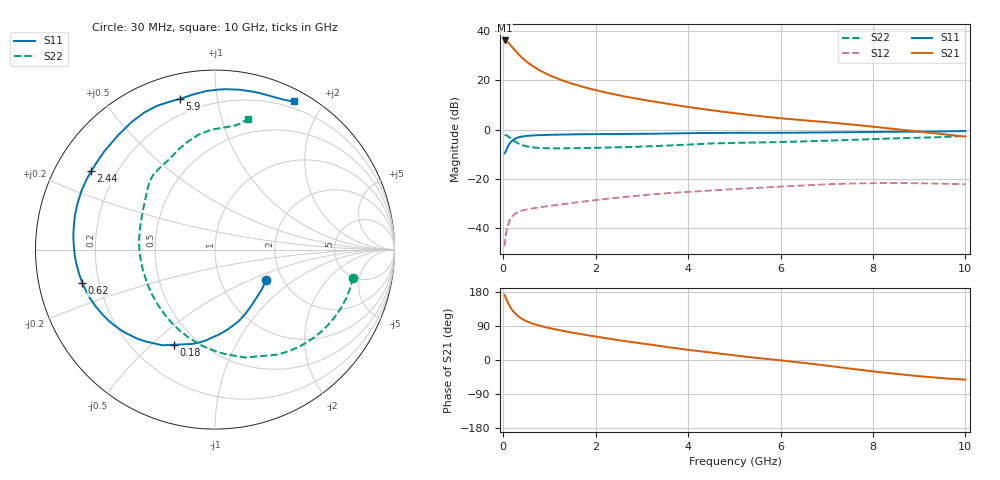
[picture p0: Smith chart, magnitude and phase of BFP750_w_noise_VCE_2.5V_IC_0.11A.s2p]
! Infineon Technologies  Discrete & RF Semiconductors
! BFP750
! VCE =  2.5 V,  IC = 0.11 A
! Common Emitter S-Parameters:  Jan 2016
# GHz  S  MA  R  50
!  f  S11  S21  S12  S22
! GHz  MAG  ANG  MAG  ANG  MAG  ANG  MAG  ANG
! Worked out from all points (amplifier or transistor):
!   229 points, 30 MHz to 10 GHz, reference 50 ohm
!   highest |S21| = 36.3 dB at 30 MHz (marker M1)
!   |S21| within 3 dB of that: start of sweep to 206.4 MHz
!   unconditionally stable (mu >= 1): 2.557 GHz to end of sweep
!   at 280 MHz: K = 0.30, MSG = 32.8 dB, |S12| = -33.9 dB
!   at 1.78 GHz: K = 0.86, MSG = 23.1 dB, |S12| = -29.1 dB
!   at 10 GHz: K = 1.07, MAG = 8.0 dB, |S12| = -22.2 dB
!   lowest NFmin = 1.68 dB at 450 MHz
!   S11 on the Smith chart (normalised r, x): 30 MHz: 1.64, -0.63; 180 MHz: 0.37, -0.59; 620 MHz: 0.14, -0.12; 2.44 GHz: 0.11, +0.29; 5.9 GHz: 0.12, +0.79; 10 GHz: 0.12, +1.66
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0.03  0.3314 -31.1  64.95 171.7  0.0043 62.2  0.784 -11.5
0.05  0.3543 -49.5  64.21 165.3  0.0065 62.0  0.7788 -20.9
0.07  0.3966 -64.8  62.6 159.4  0.0085 61.4  0.7655 -29.5
0.1  0.4553 -82.4  59.33 151.5  0.0113 57.5  0.7375 -41.7
0.145  0.5338 -102.0  53.6 141.0  0.0148 51.3  0.6846 -57.9
0.18  0.5774 -113.3  49.07 134.7  0.0166 47.0  0.6407 -68.2
0.2  0.6089 -118.9  46.71 130.7  0.0177 44.8  0.6241 -74.5
0.26  0.6593 -131.3  40.3 122.5  0.0198 39.7  0.5693 -88.9
0.3  0.6862 -138.2  36.53 117.7  0.0208 37.2  0.5413 -97.5
0.36  0.7113 -145.8  31.97 112.2  0.022 34.4  0.5076 -107.9
0.46  0.7388 -155.5  26.18 104.9  0.0234 31.4  0.4708 -121.9
0.62  0.7623 -165.9  20.12 96.9  0.025 29.3  0.4394 -137.9
0.8  0.7765 -174.2  15.81 90.0  0.0265 28.5  0.4242 -150.6
1  0.7862 178.9  12.74 84.1  0.0282 28.7  0.418 -160.6
1.7  0.8078 161.8  7.527 68.0  0.0343 29.7  0.4227 178.1
2.44  0.8169 147.7  5.136 53.4  0.0412 28.5  0.436 162.7
3.4  0.8319 131.8  3.533 36.8  0.0499 24.2  0.4692 147.0
5.1  0.8629 110.9  2.112 11.0  0.0629 14.2  0.5421 128.5
5.9  0.8625 103.0  1.741 0.3  0.0687 9.1  0.5578 119.3
6.8  0.8798 94.8  1.471 -11.8  0.0761 1.9  0.5885 111.0
8.4  0.905 76.2  1.05 -35.2  0.0823 -13.8  0.6632 93.2
10  0.937 61.8  0.725 -51.9  0.078 -26.0  0.7493 76.0
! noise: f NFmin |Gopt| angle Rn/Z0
0.45  1.68  0.37  -170  0.29
0.9  1.71  0.46  -163  0.16
1.5  1.74  0.54  -154  0.1
1.9  1.74  0.56  -148  0.11
2.4  1.72  0.56  -141  0.15
3.5  2.05  0.56  -124  0.21
